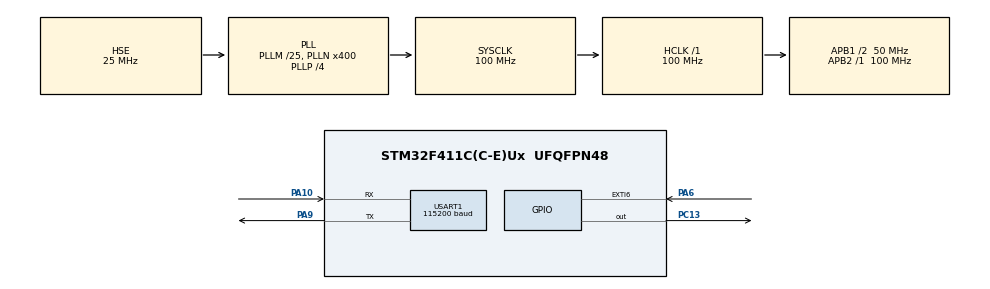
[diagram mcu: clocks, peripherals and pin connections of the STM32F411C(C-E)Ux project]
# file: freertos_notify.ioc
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Mcu.Family=STM32F4
Mcu.Name=STM32F411C(C-E)Ux
Mcu.Package=UFQFPN48
NVIC.EXTI9_5_IRQn=true\:0\:0\:false\:false\:true\:true\:true
NVIC.PriorityGroup=NVIC_PRIORITYGROUP_4
NVIC.TIM1_UP_TIM10_IRQn=true\:0\:0\:false\:false\:true\:false\:true
NVIC.TimeBase=TIM1_UP_TIM10_IRQn
NVIC.TimeBaseIP=TIM1
PA10.Mode=Asynchronous
PA10.Signal=USART1_RX
PA13.Mode=Serial_Wire
PA13.Signal=SYS_JTMS-SWDIO
PA14.Mode=Serial_Wire
PA14.Signal=SYS_JTCK-SWCLK
PA6.GPIO_ModeDefaultEXTI=GPIO_MODE_IT_FALLING
PA6.GPIO_PuPd=GPIO_PULLUP
PA6.Signal=GPXTI6
PA9.Mode=Asynchronous
PA9.Signal=USART1_TX
PB3.Signal=SYS_JTDO-SWO
PC13-ANTI_TAMP.Signal=GPIO_Output
PH0\ -\ OSC_IN.Mode=HSE-External-Oscillator
PH0\ -\ OSC_IN.Signal=RCC_OSC_IN
PH1\ -\ OSC_OUT.Mode=HSE-External-Oscillator
PH1\ -\ OSC_OUT.Signal=RCC_OSC_OUT
ProjectManager.HeapSize=0x200
ProjectManager.StackSize=0x400
ProjectManager.TargetToolchain=STM32CubeIDE
RCC.48MHZClocksFreq_Value=100000000
RCC.AHBFreq_Value=100000000
RCC.APB1CLKDivider=RCC_HCLK_DIV2
RCC.APB1Freq_Value=50000000
RCC.APB1TimFreq_Value=100000000
RCC.APB2Freq_Value=100000000
RCC.APB2TimFreq_Value=100000000
RCC.CortexFreq_Value=100000000
RCC.HCLKFreq_Value=100000000
RCC.HSE_VALUE=25000000
RCC.HSI_VALUE=16000000
RCC.LSE_VALUE=32768
RCC.PLLM=25
RCC.PLLN=400
RCC.PLLP=RCC_PLLP_DIV4
RCC.PLLSourceVirtual=RCC_PLLSOURCE_HSE
RCC.SYSCLKFreq_VALUE=100000000
RCC.SYSCLKSource=RCC_SYSCLKSOURCE_PLLCLK
RCC.VCOOutputFreq_Value=400000000
USART1.BaudRate=115200
USART1.VirtualMode=VM_ASYNC
VP_SYS_VS_tim1.Mode=TIM1
board=custom

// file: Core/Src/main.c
/* USER CODE BEGIN Header */
/**
  ******************************************************************************
  * @file           : main.c
  * @brief          : Main program body
  ******************************************************************************
  * @attention
  *
  * <h2><center>&copy; Copyright (c) 2020 STMicroelectronics.
  * All rights reserved.</center></h2>
  *
  * This software component is licensed by ST under BSD 3-Clause license,
  * the "License"; You may not use this file except in compliance with the
  * License. You may obtain a copy of the License at:
  *                        opensource.org/licenses/BSD-3-Clause
  *
  ******************************************************************************
  */
/* USER CODE END Header */

#include "main.h"

/* USER CODE BEGIN Includes */
#include <stdio.h>
#include <stdint.h>
#include <string.h>

#include "FreeRTOS.h"
#include "task.h"
/* USER CODE END Includes */

UART_HandleTypeDef huart1;

void SystemClock_Config(void);
static void MX_GPIO_Init(void);
static void MX_USART1_UART_Init(void);
/* USER CODE BEGIN PFP */
void ledTask(void* pParams);
void btnTask(void* pParams);
void printMsg(char *format,...);
void busyDelay(uint32_t delay_in_ms);

/* USER CODE END PFP */

/* USER CODE BEGIN 0 */

//#define USE_BTN_TASK
#define USE_BTN_INT

TaskHandle_t ledTaskHandle = NULL;

#ifdef USE_BTN_TASK
TaskHandle_t btnTaskHandle = NULL;
#endif

void printMsg(char *format,...){
	char str[80];
	va_list args;
	va_start(args, format);
	vsprintf(str, format,args);
	HAL_UART_Transmit(&huart1, (uint8_t *)str, strlen(str),HAL_MAX_DELAY);
	va_end(args);
 }

/* USER CODE END 0 */

int main(void)
{
  /* USER CODE BEGIN 1 */
  DWT->CTRL |= (1 << 0); // enable CYCCNT for SystemView

  /* USER CODE END 1 */

  /* MCU Configuration--------------------------------------------------------*/

  /* Reset of all peripherals, Initializes the Flash interface and the Systick. */
  HAL_Init();

  /* Configure the system clock */
  SystemClock_Config();

  /* USER CODE BEGIN SysInit */
  HAL_RCC_DeInit(); // 16 MHz HSI
  SystemCoreClockUpdate();
  HAL_Delay(500); // leave this here so that JLink/STlink can connect to cpu after reset

  /* USER CODE END SysInit */

  /* Initialize all configured peripherals */
  MX_GPIO_Init();
  MX_USART1_UART_Init();
  /* USER CODE BEGIN 2 */
  printMsg("SystemCoreClock %lu\r\n", SystemCoreClock);

  SEGGER_SYSVIEW_Conf();
  vSetVarulMaxPRIGROUPValue();
  SEGGER_SYSVIEW_Start();

  xTaskCreate(ledTask, "ledTask", configMINIMAL_STACK_SIZE*2, NULL, 2, &ledTaskHandle);
#ifdef USE_BTN_TASK
  xTaskCreate(btnTask, "btnTask", configMINIMAL_STACK_SIZE, NULL, 2, &btnTaskHandle);
#endif

  vTaskStartScheduler();
  /* USER CODE END 2 */

  /* Infinite loop */
  /* USER CODE BEGIN WHILE */
  int counter = 0;
  while (1)
  {
    /* USER CODE END WHILE */

    /* USER CODE BEGIN 3 */
	  HAL_GPIO_TogglePin(GPIOC, GPIO_PIN_13);
	  printMsg("main loop %d\r\n", counter++);
	  HAL_Delay(1000);
  }
  /* USER CODE END 3 */
}

void SystemClock_Config(void)
{
  RCC_OscInitTypeDef RCC_OscInitStruct = {0};
  RCC_ClkInitTypeDef RCC_ClkInitStruct = {0};

  /** Configure the main internal regulator output voltage
  */
  __HAL_RCC_PWR_CLK_ENABLE();
  __HAL_PWR_VOLTAGESCALING_CONFIG(PWR_REGULATOR_VOLTAGE_SCALE1);
  /** Initializes the CPU, AHB and APB busses clocks
  */
  RCC_OscInitStruct.OscillatorType = RCC_OSCILLATORTYPE_HSE;
  RCC_OscInitStruct.HSEState = RCC_HSE_ON;
  RCC_OscInitStruct.PLL.PLLState = RCC_PLL_ON;
  RCC_OscInitStruct.PLL.PLLSource = RCC_PLLSOURCE_HSE;
  RCC_OscInitStruct.PLL.PLLM = 25;
  RCC_OscInitStruct.PLL.PLLN = 400;
  RCC_OscInitStruct.PLL.PLLP = RCC_PLLP_DIV4;
  RCC_OscInitStruct.PLL.PLLQ = 4;
  if (HAL_RCC_OscConfig(&RCC_OscInitStruct) != HAL_OK)
  {
    Error_Handler();
  }
  /** Initializes the CPU, AHB and APB busses clocks
  */
  RCC_ClkInitStruct.ClockType = RCC_CLOCKTYPE_HCLK|RCC_CLOCKTYPE_SYSCLK
                              |RCC_CLOCKTYPE_PCLK1|RCC_CLOCKTYPE_PCLK2;
  RCC_ClkInitStruct.SYSCLKSource = RCC_SYSCLKSOURCE_PLLCLK;
  RCC_ClkInitStruct.AHBCLKDivider = RCC_SYSCLK_DIV1;
  RCC_ClkInitStruct.APB1CLKDivider = RCC_HCLK_DIV2;
  RCC_ClkInitStruct.APB2CLKDivider = RCC_HCLK_DIV1;

  if (HAL_RCC_ClockConfig(&RCC_ClkInitStruct, FLASH_LATENCY_3) != HAL_OK)
  {
    Error_Handler();
  }
}

static void MX_USART1_UART_Init(void)
{

  /* USER CODE BEGIN USART1_Init 1 */
  huart1.Init.BaudRate = 115200;

  /* USER CODE END USART1_Init 1 */
  huart1.Instance = USART1;
  huart1.Init.BaudRate = 115200;
  huart1.Init.WordLength = UART_WORDLENGTH_8B;
  huart1.Init.StopBits = UART_STOPBITS_1;
  huart1.Init.Parity = UART_PARITY_NONE;
  huart1.Init.Mode = UART_MODE_TX_RX;
  huart1.Init.HwFlowCtl = UART_HWCONTROL_NONE;
  huart1.Init.OverSampling = UART_OVERSAMPLING_16;
  if (HAL_UART_Init(&huart1) != HAL_OK)
  {
    Error_Handler();
  }

}

static void MX_GPIO_Init(void)
{
  GPIO_InitTypeDef GPIO_InitStruct = {0};

  /* GPIO Ports Clock Enable */
  __HAL_RCC_GPIOC_CLK_ENABLE();
  __HAL_RCC_GPIOH_CLK_ENABLE();
  __HAL_RCC_GPIOA_CLK_ENABLE();
  __HAL_RCC_GPIOB_CLK_ENABLE();

  /*Configure GPIO pin Output Level */
  HAL_GPIO_WritePin(GPIOC, GPIO_PIN_13, GPIO_PIN_RESET);

  /*Configure GPIO pin : PC13 */
  GPIO_InitStruct.Pin = GPIO_PIN_13;
  GPIO_InitStruct.Mode = GPIO_MODE_OUTPUT_PP;
  GPIO_InitStruct.Pull = GPIO_NOPULL;
  GPIO_InitStruct.Speed = GPIO_SPEED_FREQ_LOW;
  HAL_GPIO_Init(GPIOC, &GPIO_InitStruct);

#ifdef USE_BTN_INT

  /*Configure GPIO pin : PA6 */
  GPIO_InitStruct.Pin = GPIO_PIN_6;
  GPIO_InitStruct.Mode = GPIO_MODE_IT_FALLING;
  GPIO_InitStruct.Pull = GPIO_PULLUP;
  HAL_GPIO_Init(GPIOA, &GPIO_InitStruct);

  /* EXTI interrupt init*/
  HAL_NVIC_SetPriority(EXTI9_5_IRQn, configLIBRARY_MAX_SYSCALL_INTERRUPT_PRIORITY, 0); // ensure interrupt priority is compatible with freeRTOS calls from isr
  HAL_NVIC_EnableIRQ(EXTI9_5_IRQn);

#endif
#ifdef USE_BTN_TASK

  /*Configure GPIO pin : PA6 */
  GPIO_InitStruct.Pin = GPIO_PIN_6;
  GPIO_InitStruct.Mode = GPIO_MODE_INPUT;
  GPIO_InitStruct.Pull = GPIO_PULLUP;
  HAL_GPIO_Init(GPIOA, &GPIO_InitStruct);

#endif

}

/* USER CODE BEGIN 4 */

void ledTask(void* pParams) {
	uint32_t current_notification_value=0;
	while(1)	{
		// block until we receive a notification event
		// then go from blocked to ready list, context switch will happen on next systick
		if ( xTaskNotifyWait(0, // dont clear any bits on entry
				0, // dont clear any bits on exit
				&current_notification_value, // get the notification value
				portMAX_DELAY // wait forever
				) == pdTRUE )		{
			HAL_GPIO_TogglePin(GPIOC,GPIO_PIN_13);
			printMsg("Notification received : Button press count : %ld \r\n",current_notification_value);
		}

	}
}

#ifdef USE_BTN_TASK

void btnTask(void* pParams) {
	while(1)	{
		if(! HAL_GPIO_ReadPin(GPIOA,GPIO_PIN_6) ) {
			// wait for 50ms to compensate for the button debouncing
			busyDelay(50);
			if(! HAL_GPIO_ReadPin(GPIOA,GPIO_PIN_6) ) {
				// send a notification to ledTask and increment its notification value
				xTaskNotify(ledTaskHandle, 0x0, // not used
					eIncrement); // increment receiving tasks notification value (which was zeroed on task creation)
				}
			}

	}
}

#endif

#ifdef USE_BTN_INT

/**
  * @brief This function handles EXTI line[9:5] interrupts.
  */
void EXTI9_5_IRQHandler(void)
{
  /* USER CODE BEGIN EXTI9_5_IRQn 0 */
    traceISR_ENTER();
  /* USER CODE END EXTI9_5_IRQn 0 */
  HAL_GPIO_EXTI_IRQHandler(GPIO_PIN_6);
  /* USER CODE BEGIN EXTI9_5_IRQn 1 */
  BaseType_t xHigherPriorityTaskWoken = pdFALSE;
  xTaskNotifyFromISR(ledTaskHandle,
			0x0, // not used
			eIncrement,// increment receiving tasks notification value (which was zeroed on task creation)
			&xHigherPriorityTaskWoken); // determine if any task was blocked on this
    // Force a context switch if xHigherPriorityTaskWoken is now set to pdTRUE.
	if(xHigherPriorityTaskWoken){
		taskYIELD();
		}
    traceISR_EXIT();
  /* USER CODE END EXTI9_5_IRQn 1 */
}

#endif

void busyDelay(uint32_t delay_in_ms){
	uint32_t current_tick_count = xTaskGetTickCount();
	uint32_t delay_in_ticks = (delay_in_ms * configTICK_RATE_HZ ) /1000 ;
	while(xTaskGetTickCount() <  (current_tick_count + delay_in_ticks));
	}

/* USER CODE END 4 */

void HAL_TIM_PeriodElapsedCallback(TIM_HandleTypeDef *htim)
{
  if (htim->Instance == TIM1) {
    HAL_IncTick();
  }
}

void Error_Handler(void)
{
  /* USER CODE BEGIN Error_Handler_Debug */
  /* User can add his own implementation to report the HAL error return state */
	// toggle the board LED rapidly
	int counter = 0;
	while (1) {
		HAL_GPIO_TogglePin(GPIOC, GPIO_PIN_13);
		while (counter < 0x3FFFF) {counter++;}
		counter = 0;
		}
  /* USER CODE END Error_Handler_Debug */
}

/************************ (C) COPYRIGHT STMicroelectronics *****END OF FILE****/
